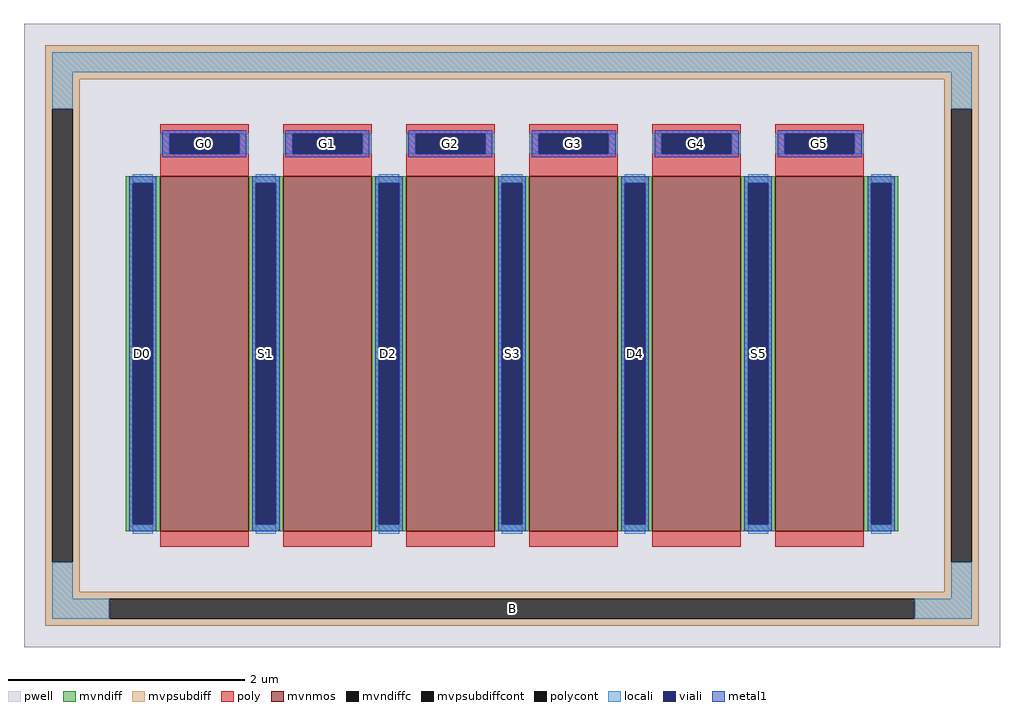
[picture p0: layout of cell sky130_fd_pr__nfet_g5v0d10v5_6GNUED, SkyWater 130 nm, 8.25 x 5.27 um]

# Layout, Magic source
magic
tech sky130A
magscale 1 2
<< pwell >>
rect -825 -527 825 527
<< mvnmos >>
rect -595 -331 -445 269
rect -387 -331 -237 269
rect -179 -331 -29 269
rect 29 -331 179 269
rect 237 -331 387 269
rect 445 -331 595 269
<< mvndiff >>
rect -653 257 -595 269
rect -653 -319 -641 257
rect -607 -319 -595 257
rect -653 -331 -595 -319
rect -445 257 -387 269
rect -445 -319 -433 257
rect -399 -319 -387 257
rect -445 -331 -387 -319
rect -237 257 -179 269
rect -237 -319 -225 257
rect -191 -319 -179 257
rect -237 -331 -179 -319
rect -29 257 29 269
rect -29 -319 -17 257
rect 17 -319 29 257
rect -29 -331 29 -319
rect 179 257 237 269
rect 179 -319 191 257
rect 225 -319 237 257
rect 179 -331 237 -319
rect 387 257 445 269
rect 387 -319 399 257
rect 433 -319 445 257
rect 387 -331 445 -319
rect 595 257 653 269
rect 595 -319 607 257
rect 641 -319 653 257
rect 595 -331 653 -319
<< mvndiffc >>
rect -641 -319 -607 257
rect -433 -319 -399 257
rect -225 -319 -191 257
rect -17 -319 17 257
rect 191 -319 225 257
rect 399 -319 433 257
rect 607 -319 641 257
<< mvpsubdiff >>
rect -789 433 789 491
rect -789 383 -731 433
rect -789 -383 -777 383
rect -743 -383 -731 383
rect 731 383 789 433
rect -789 -433 -731 -383
rect 731 -383 743 383
rect 777 -383 789 383
rect 731 -433 789 -383
rect -789 -445 789 -433
rect -789 -479 -681 -445
rect 681 -479 789 -445
rect -789 -491 789 -479
<< mvpsubdiffcont >>
rect -777 -383 -743 383
rect 743 -383 777 383
rect -681 -479 681 -445
<< poly >>
rect -595 341 -445 357
rect -595 307 -579 341
rect -461 307 -445 341
rect -595 269 -445 307
rect -387 341 -237 357
rect -387 307 -371 341
rect -253 307 -237 341
rect -387 269 -237 307
rect -179 341 -29 357
rect -179 307 -163 341
rect -45 307 -29 341
rect -179 269 -29 307
rect 29 341 179 357
rect 29 307 45 341
rect 163 307 179 341
rect 29 269 179 307
rect 237 341 387 357
rect 237 307 253 341
rect 371 307 387 341
rect 237 269 387 307
rect 445 341 595 357
rect 445 307 461 341
rect 579 307 595 341
rect 445 269 595 307
rect -595 -357 -445 -331
rect -387 -357 -237 -331
rect -179 -357 -29 -331
rect 29 -357 179 -331
rect 237 -357 387 -331
rect 445 -357 595 -331
<< polycont >>
rect -579 307 -461 341
rect -371 307 -253 341
rect -163 307 -45 341
rect 45 307 163 341
rect 253 307 371 341
rect 461 307 579 341
<< locali >>
rect -777 445 777 479
rect -777 383 -743 445
rect 743 383 777 445
rect -595 307 -579 341
rect -461 307 -445 341
rect -387 307 -371 341
rect -253 307 -237 341
rect -179 307 -163 341
rect -45 307 -29 341
rect 29 307 45 341
rect 163 307 179 341
rect 237 307 253 341
rect 371 307 387 341
rect 445 307 461 341
rect 579 307 595 341
rect -641 257 -607 273
rect -641 -335 -607 -319
rect -433 257 -399 273
rect -433 -335 -399 -319
rect -225 257 -191 273
rect -225 -335 -191 -319
rect -17 257 17 273
rect -17 -335 17 -319
rect 191 257 225 273
rect 191 -335 225 -319
rect 399 257 433 273
rect 399 -335 433 -319
rect 607 257 641 273
rect 607 -335 641 -319
rect -777 -445 -743 -383
rect 743 -445 777 -383
rect -777 -479 -681 -445
rect 681 -479 777 -445
<< viali >>
rect -579 307 -461 341
rect -371 307 -253 341
rect -163 307 -45 341
rect 45 307 163 341
rect 253 307 371 341
rect 461 307 579 341
rect -641 -319 -607 257
rect -433 -319 -399 257
rect -225 -319 -191 257
rect -17 -319 17 257
rect 191 -319 225 257
rect 399 -319 433 257
rect 607 -319 641 257
<< metal1 >>
rect -591 341 -449 347
rect -591 307 -579 341
rect -461 307 -449 341
rect -591 301 -449 307
rect -383 341 -241 347
rect -383 307 -371 341
rect -253 307 -241 341
rect -383 301 -241 307
rect -175 341 -33 347
rect -175 307 -163 341
rect -45 307 -33 341
rect -175 301 -33 307
rect 33 341 175 347
rect 33 307 45 341
rect 163 307 175 341
rect 33 301 175 307
rect 241 341 383 347
rect 241 307 253 341
rect 371 307 383 341
rect 241 301 383 307
rect 449 341 591 347
rect 449 307 461 341
rect 579 307 591 341
rect 449 301 591 307
rect -647 257 -601 269
rect -647 -319 -641 257
rect -607 -319 -601 257
rect -647 -331 -601 -319
rect -439 257 -393 269
rect -439 -319 -433 257
rect -399 -319 -393 257
rect -439 -331 -393 -319
rect -231 257 -185 269
rect -231 -319 -225 257
rect -191 -319 -185 257
rect -231 -331 -185 -319
rect -23 257 23 269
rect -23 -319 -17 257
rect 17 -319 23 257
rect -23 -331 23 -319
rect 185 257 231 269
rect 185 -319 191 257
rect 225 -319 231 257
rect 185 -331 231 -319
rect 393 257 439 269
rect 393 -319 399 257
rect 433 -319 439 257
rect 393 -331 439 -319
rect 601 257 647 269
rect 601 -319 607 257
rect 641 -319 647 257
rect 601 -331 647 -319
<< labels >>
rlabel mvpsubdiffcont 0 -462 0 -462 0 B
port 1 nsew
rlabel mvndiffc -624 -31 -624 -31 0 D0
port 2 nsew
rlabel polycont -520 324 -520 324 0 G0
port 3 nsew
rlabel mvndiffc -416 -31 -416 -31 0 S1
port 4 nsew
rlabel polycont -312 324 -312 324 0 G1
port 5 nsew
rlabel mvndiffc -208 -31 -208 -31 0 D2
port 6 nsew
rlabel polycont -104 324 -104 324 0 G2
port 7 nsew
rlabel mvndiffc 0 -31 0 -31 0 S3
port 8 nsew
rlabel polycont 104 324 104 324 0 G3
port 9 nsew
rlabel mvndiffc 208 -31 208 -31 0 D4
port 10 nsew
rlabel polycont 312 324 312 324 0 G4
port 11 nsew
rlabel mvndiffc 416 -31 416 -31 0 S5
port 12 nsew
rlabel polycont 520 324 520 324 0 G5
port 13 nsew
<< properties >>
string FIXED_BBOX -760 -462 760 462
string gencell sky130_fd_pr__nfet_g5v0d10v5
string library sky130
string parameters w 3.0 l 0.75 m 1 nf 6 diffcov 100 polycov 100 guard 1 glc 1 grc 1 gtc 0 gbc 1 tbcov 100 rlcov 100 topc 1 botc 0 poverlap 0 doverlap 1 lmin 0.50 wmin 0.42 class mosfet compatible {sky130_fd_pr__nfet_01v8 sky130_fd_pr__nfet_01v8_lvt  sky130_fd_bs_flash__special_sonosfet_star  sky130_fd_pr__nfet_g5v0d10v5 sky130_fd_pr__nfet_05v0_nvt  sky130_fd_pr__nfet_03v3_nvt} full_metal 1 conn_gates 0 viasrc 100 viadrn 100 viagate 100 viagb 0 viagr 0 viagl 0 viagt 0 doports 1
<< end >>
